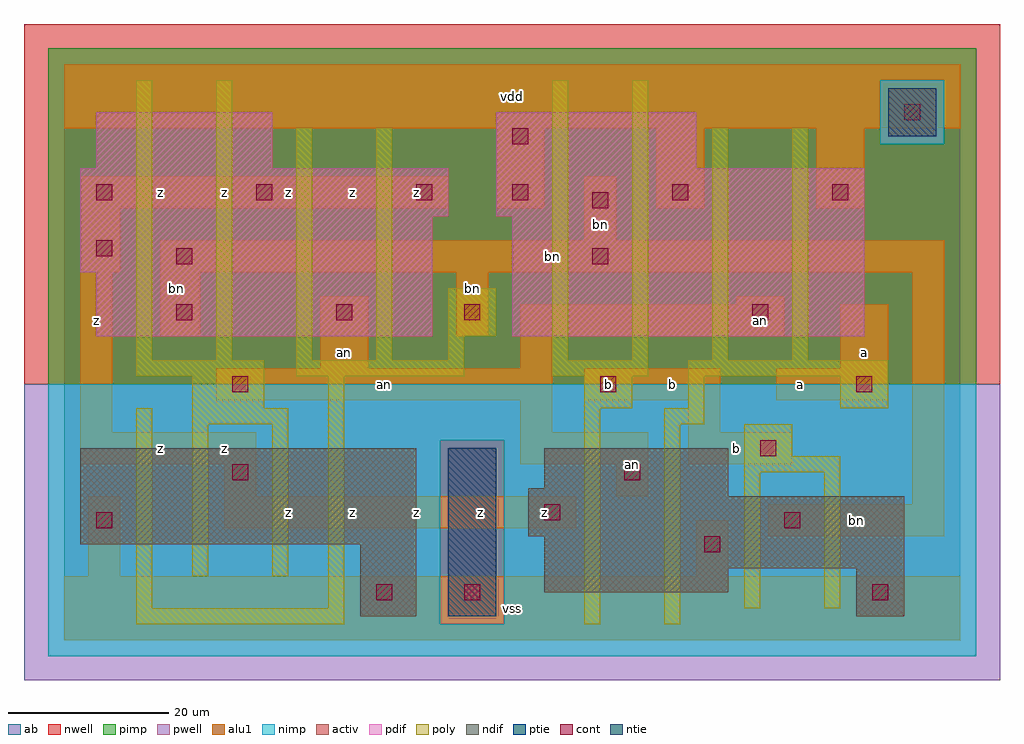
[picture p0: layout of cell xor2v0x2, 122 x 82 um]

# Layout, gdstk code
import gdstk
lib = gdstk.Library(unit=1e-6, precision=1e-09)
def R(c, l, rs):  # rectangles x0, y0, x1, y1
    for r in rs: c.add(gdstk.rectangle(r[:2], r[2:], *l))
def A(c, l, x, y, w, h, nx, ny, dx, dy):  # array of equal rectangles
    R(c, l, [(x+i*dx, y+j*dy, x+i*dx+w, y+j*dy+h) for i in range(nx) for j in range(ny)])
ndif = (3, 0)
pdif = (4, 0)
ntie = (5, 0)
ptie = (6, 0)
cont = (25, 0)
pwell = (41, 0)
nwell = (42, 0)
activ = (43, 0)
pimp = (44, 0)
nimp = (45, 0)
poly = (46, 0)
alu1 = (49, 0)
ab = (63, 0)

xor2v0x2 = lib.new_cell('xor2v0x2')
R(xor2v0x2, ndif, [(37,3,44,12), (99,3,105,9), (60,6,83,9), (60,9,105,13), (2,12,44,24), (58,13,105,18), (58,18,83,19), (60,19,83,24)])
R(xor2v0x2, pdif, [(4,38,46,46), (56,38,100,53), (2,46,46,53), (2,53,48,59), (54,53,100,59), (4,59,26,66), (54,59,79,66)])
R(xor2v0x2, ntie, [(103,63,109,69)])
R(xor2v0x2, ptie, [(48,3,54,24)])
A(xor2v0x2, cont, 4, 55, 2, 2, 3, 1, 20, 0)
A(xor2v0x2, cont, 56, 55, 2, 2, 3, 1, 20, 0)
R(xor2v0x2, cont, [(39,5,41,7), (50,5,52,7), (101,5,103,7), (80,11,82,13), (4,14,6,16), (90,14,92,16), (60,15,62,17), (21,20,23,22), (70,20,72,22), (87,23,89,25), (21,31,23,33), (67,31,69,33), (99,31,101,33), (14,40,16,42), (34,40,36,42), (50,40,52,42), (86,40,88,42), (14,47,16,49), (66,47,68,49), (4,48,6,50), (66,54,68,56), (56,62,58,64), (105,65,107,67)])
R(xor2v0x2, pwell, [(-5,-5,117,32)])
R(xor2v0x2, nwell, [(-5,32,117,77)])
R(xor2v0x2, activ, [(37,3,44,12), (48,3,54,24), (99,3,105,9), (60,6,83,9), (60,9,105,13), (2,12,44,24), (58,13,105,18), (58,18,83,19), (60,19,83,24), (4,38,46,46), (56,38,100,53), (2,46,46,53), (2,53,48,59), (54,53,100,59), (4,59,26,66), (54,59,79,66), (103,63,109,69)])
R(xor2v0x2, pimp, [(47,2,55,25), (-2,32,114,62), (-2,62,102,70), (110,62,114,70), (-2,70,114,74)])
R(xor2v0x2, nimp, [(-2,-2,114,2), (-2,2,47,25), (55,2,114,25), (-2,25,114,32), (102,62,110,70)])
R(xor2v0x2, poly, [(9,2,35,4), (65,2,67,29), (75,2,77,27), (9,4,11,29), (33,4,35,33), (85,4,87,21), (95,4,97,21), (16,8,18,27), (26,8,28,27), (85,21,97,23), (85,23,91,27), (16,27,28,29), (75,27,80,29), (16,29,25,33), (65,29,71,33), (78,29,80,33), (97,29,103,33), (9,33,25,35), (29,33,50,35), (61,33,73,35), (78,33,103,35), (9,35,11,70), (19,35,21,70), (29,35,31,64), (39,35,41,64), (48,35,50,38), (61,35,63,70), (71,35,73,70), (81,35,83,64), (91,35,93,64), (48,38,54,44)])
A(xor2v0x2, alu1, 54, 54, 6, 10, 3, 1, 20, 0)
R(xor2v0x2, alu1, [(0,0,112,8), (3,8,7,18), (79,8,83,15), (88,13,110,17), (20,14,64,18), (106,17,110,46), (20,18,24,22), (69,18,73,22), (2,22,24,26), (57,22,73,26), (78,22,91,26), (2,26,6,46), (57,26,61,30), (78,26,82,30), (19,30,61,34), (65,30,82,34), (89,30,103,34), (32,34,38,43), (57,34,61,38), (97,34,103,42), (12,38,17,46), (49,38,53,46), (57,38,90,42), (84,42,90,43), (2,46,7,54), (12,46,110,50), (65,50,69,58), (2,54,48,58), (0,64,112,72)])
R(xor2v0x2, ab, [(0,0,112,72)])
xor2v0x2.add(gdstk.Label('bn', (14,44), layer=49, texttype=0))
xor2v0x2.add(gdstk.Label('bn', (51,44), layer=49, texttype=0))
xor2v0x2.add(gdstk.Label('an', (35,36), layer=49, texttype=0))
xor2v0x2.add(gdstk.Label('an', (71,22), layer=49, texttype=0))
xor2v0x2.add(gdstk.Label('an', (40,32), layer=49, texttype=0))
xor2v0x2.add(gdstk.Label('bn', (67,52), layer=49, texttype=0))
xor2v0x2.add(gdstk.Label('bn', (99,15), layer=49, texttype=0))
xor2v0x2.add(gdstk.Label('an', (87,40), layer=49, texttype=0))
xor2v0x2.add(gdstk.Label('bn', (61,48), layer=49, texttype=0))
xor2v0x2.add(gdstk.Label('z', (20,24), layer=49, texttype=0))
xor2v0x2.add(gdstk.Label('z', (12,24), layer=49, texttype=0))
xor2v0x2.add(gdstk.Label('z', (4,40), layer=49, texttype=0))
xor2v0x2.add(gdstk.Label('z', (12,56), layer=49, texttype=0))
xor2v0x2.add(gdstk.Label('z', (20,56), layer=49, texttype=0))
xor2v0x2.add(gdstk.Label('z', (36,16), layer=49, texttype=0))
xor2v0x2.add(gdstk.Label('z', (52,16), layer=49, texttype=0))
xor2v0x2.add(gdstk.Label('z', (44,16), layer=49, texttype=0))
xor2v0x2.add(gdstk.Label('z', (28,16), layer=49, texttype=0))
xor2v0x2.add(gdstk.Label('z', (36,56), layer=49, texttype=0))
xor2v0x2.add(gdstk.Label('z', (44,56), layer=49, texttype=0))
xor2v0x2.add(gdstk.Label('z', (28,56), layer=49, texttype=0))
xor2v0x2.add(gdstk.Label('vss', (56,4), layer=49, texttype=0))
xor2v0x2.add(gdstk.Label('z', (60,16), layer=49, texttype=0))
xor2v0x2.add(gdstk.Label('b', (68,32), layer=49, texttype=0))
xor2v0x2.add(gdstk.Label('b', (76,32), layer=49, texttype=0))
xor2v0x2.add(gdstk.Label('vdd', (56,68), layer=49, texttype=0))
xor2v0x2.add(gdstk.Label('b', (84,24), layer=49, texttype=0))
xor2v0x2.add(gdstk.Label('a', (92,32), layer=49, texttype=0))
xor2v0x2.add(gdstk.Label('a', (100,36), layer=49, texttype=0))

lib.write_gds('xor2v0x2.gds')
